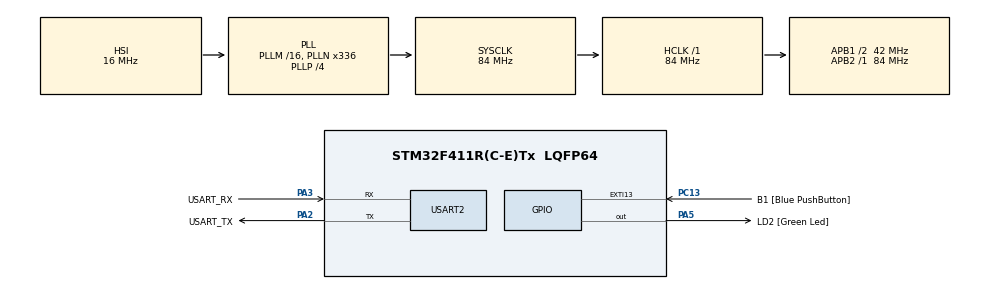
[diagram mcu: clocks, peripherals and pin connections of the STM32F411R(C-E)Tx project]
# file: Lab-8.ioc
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Mcu.Family=STM32F4
Mcu.Name=STM32F411R(C-E)Tx
Mcu.Package=LQFP64
NVIC.PriorityGroup=NVIC_PRIORITYGROUP_0
NVIC.USART2_IRQn=true\:0\:0\:false\:false\:true\:true\:true
PA13.GPIO_Label=TMS
PA13.Mode=Serial_Wire
PA13.Signal=SYS_JTMS-SWDIO
PA14.GPIO_Label=TCK
PA14.Mode=Serial_Wire
PA14.Signal=SYS_JTCK-SWCLK
PA2.GPIO_Label=USART_TX
PA2.Mode=Asynchronous
PA2.Signal=USART2_TX
PA3.GPIO_Label=USART_RX
PA3.Mode=Asynchronous
PA3.Signal=USART2_RX
PA5.GPIO_Label=LD2 [Green Led]
PA5.Signal=GPIO_Output
PB3.GPIO_Label=SWO
PB3.Signal=SYS_JTDO-SWO
PC13-ANTI_TAMP.GPIO_Label=B1 [Blue PushButton]
PC13-ANTI_TAMP.GPIO_ModeDefaultEXTI=GPIO_MODE_IT_FALLING
PC13-ANTI_TAMP.Signal=GPXTI13
PC14-OSC32_IN.Mode=LSE-External-Oscillator
PC14-OSC32_IN.Signal=RCC_OSC32_IN
PC15-OSC32_OUT.Mode=LSE-External-Oscillator
PC15-OSC32_OUT.Signal=RCC_OSC32_OUT
PH0\ -\ OSC_IN.Mode=HSE-External-Clock-Source
PH0\ -\ OSC_IN.Signal=RCC_OSC_IN
PH1\ -\ OSC_OUT.Mode=HSE-External-Clock-Source
PH1\ -\ OSC_OUT.Signal=RCC_OSC_OUT
ProjectManager.HeapSize=0x200
ProjectManager.StackSize=0x400
ProjectManager.TargetToolchain=STM32CubeIDE
RCC.48MHZClocksFreq_Value=84000000
RCC.AHBFreq_Value=84000000
RCC.APB1CLKDivider=RCC_HCLK_DIV2
RCC.APB1Freq_Value=42000000
RCC.APB1TimFreq_Value=84000000
RCC.APB2Freq_Value=84000000
RCC.APB2TimFreq_Value=84000000
RCC.CortexFreq_Value=84000000
RCC.FLatency-AdvancedSettings=FLASH_LATENCY_2
RCC.HCLKFreq_Value=84000000
RCC.HSE_VALUE=8000000
RCC.HSI_VALUE=16000000
RCC.PLLN=336
RCC.PLLP=RCC_PLLP_DIV4
RCC.SYSCLKFreq_VALUE=84000000
RCC.SYSCLKSource=RCC_SYSCLKSOURCE_PLLCLK
RCC.VCOOutputFreq_Value=336000000
USART2.VirtualMode=VM_ASYNC
board=NUCLEO-F411RE

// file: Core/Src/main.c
/* USER CODE BEGIN Header */
/**
  ******************************************************************************
  * @file           : main.c
  * @brief          : Main program body
  ******************************************************************************
  * @attention
  *
  * <h2><center>&copy; Copyright (c) 2021 STMicroelectronics.
  * All rights reserved.</center></h2>
  *
  * This software component is licensed by ST under BSD 3-Clause license,
  * the "License"; You may not use this file except in compliance with the
  * License. You may obtain a copy of the License at:
  *                        opensource.org/licenses/BSD-3-Clause
  *
  ******************************************************************************
  */
/* USER CODE END Header */
#include "main.h"
#include <stdio.h> 	//sprintf
#include <string.h>	//strlen

UART_HandleTypeDef huart2;

/* USER CODE BEGIN PV */
char TxDataBuffer[32]    = { 0 };
char RxDataBuffer[32]    = { 0 };
uint8_t  ButtonArray[2]  = {1,1}; 	//[Now,Past] = [up,up]
uint32_t ButtonTimeStamp = 0;
uint16_t LEDFrequency    = 0;
uint16_t LEDHalfPeriod   = 0;
uint32_t LEDTimeStamp    = 0;
uint8_t  LEDOn           = 1;

typedef enum
{
	Main_Menu_Print,
	Main_Menu_Select,
	Menu_0_Print,
	Menu_0_Select,
	Menu_1_Print,
	Menu_1_Select
}Transition_State;

/* USER CODE END PV */

void SystemClock_Config(void);
static void MX_GPIO_Init(void);
static void MX_USART2_UART_Init(void);
/* USER CODE BEGIN PFP */
void UARTRecieveAndResponsePolling();
int16_t UARTRecieveIT();

/* USER CODE END PFP */

int main(void)
{

  /* MCU Configuration--------------------------------------------------------*/

  /* Reset of all peripherals, Initializes the Flash interface and the Systick. */
  HAL_Init();

  /* Configure the system clock */
  SystemClock_Config();

  /* Initialize all configured peripherals */
  MX_GPIO_Init();
  MX_USART2_UART_Init();
  /* USER CODE BEGIN 2 */
  {
	  char temp[]="\n\n\r!!! GET STARTED !!!\n\n\r";
	  HAL_UART_Transmit(&huart2, (uint8_t*)temp, strlen(temp),100);

  }

  /* USER CODE END 2 */

  /* Infinite loop */
  /* USER CODE BEGIN WHILE */
  while (1)
  {
	  	  /*Method 1 Polling Mode*/

//	  		UARTRecieveAndResponsePolling();

	  		/*Method 2 Interrupt Mode*/
	  		HAL_UART_Receive_IT(&huart2,  (uint8_t*)RxDataBuffer, 32);

	  		/*Method 2 W/ 1 Char Received*/

	  		if(LEDOn)
	  		{
	  			if(HAL_GetTick() - LEDTimeStamp >= LEDHalfPeriod) //ms
				{
					LEDTimeStamp = HAL_GetTick();
					HAL_GPIO_TogglePin(LD2_GPIO_Port, LD2_Pin);
				}

	  		}

	  		else
	  		{
	  			HAL_GPIO_WritePin(LD2_GPIO_Port, LD2_Pin, 0);
	  		}

	  		ButtonArray[1] = ButtonArray[0];
	  		ButtonArray[0] = HAL_GPIO_ReadPin(B1_GPIO_Port, B1_Pin);

	  		int16_t inputchar = UARTRecieveIT();

	  		static Transition_State State = Main_Menu_Print;

			switch(State)
			{
		//--------------------------------------------------------------------------------------------------------

				case Main_Menu_Print:
					sprintf(TxDataBuffer, "\n----- Main Menu -----\n\r");
					HAL_UART_Transmit(&huart2, (uint8_t*)TxDataBuffer, strlen(TxDataBuffer), 100);
					sprintf(TxDataBuffer, "[0] LED Control\n\r");
					HAL_UART_Transmit(&huart2, (uint8_t*)TxDataBuffer, strlen(TxDataBuffer), 100);
					sprintf(TxDataBuffer, "[1] Button Status\n\n\r");
					HAL_UART_Transmit(&huart2, (uint8_t*)TxDataBuffer, strlen(TxDataBuffer), 100);
					State = Main_Menu_Select;
					break;

				case Main_Menu_Select:
					switch(inputchar)
					{
						case -1 :
							break;
						case '0':
							State = Menu_0_Print;
							break;
						case '1':
							State = Menu_1_Print;
							break;
						case 'x':
							sprintf(TxDataBuffer, "No More Back\n\r");
							HAL_UART_Transmit(&huart2, (uint8_t*)TxDataBuffer, strlen(TxDataBuffer), 100);
							State = Main_Menu_Print;
							break;
						default:
							sprintf(TxDataBuffer, "\nOnly [0],[1] Key Available\n\r");
							HAL_UART_Transmit(&huart2, (uint8_t*)TxDataBuffer, strlen(TxDataBuffer), 100);
							State = Main_Menu_Print;
							break;
					}
					break;

		//--------------------------------------------------------------------------------------------------------

				case Menu_0_Print:
					sprintf(TxDataBuffer, "\n----- LED Control -----\n\r");
					HAL_UART_Transmit(&huart2, (uint8_t*)TxDataBuffer, strlen(TxDataBuffer), 100);
					sprintf(TxDataBuffer, "[a] Speed Up   +1 Hz\n\r");
					HAL_UART_Transmit(&huart2, (uint8_t*)TxDataBuffer, strlen(TxDataBuffer), 100);
					sprintf(TxDataBuffer, "[s] Speed Down -1 Hz\n\r");
					HAL_UART_Transmit(&huart2, (uint8_t*)TxDataBuffer, strlen(TxDataBuffer), 100);
					sprintf(TxDataBuffer, "[d] On/Off\n\r");
					HAL_UART_Transmit(&huart2, (uint8_t*)TxDataBuffer, strlen(TxDataBuffer), 100);
					sprintf(TxDataBuffer, "[x] Back\n\n\r");
					HAL_UART_Transmit(&huart2, (uint8_t*)TxDataBuffer, strlen(TxDataBuffer), 100);
					State = Menu_0_Select;
					break;

				case Menu_0_Select:
					switch(inputchar)
					{
						case -1 :
							break;
						case 'a':
							LEDFrequency += 1;
							LEDHalfPeriod = 500/LEDFrequency;
							sprintf(TxDataBuffer, "Blinking LED at %d Hz\n\r", LEDFrequency);
							HAL_UART_Transmit(&huart2, (uint8_t*)TxDataBuffer, strlen(TxDataBuffer), 100);
							break;
						case 's':
							if(LEDFrequency != 0)
							{
								LEDFrequency -= 1;
								LEDHalfPeriod = 500/LEDFrequency;
								sprintf(TxDataBuffer, "Blinking LED at %d Hz\n\r", LEDFrequency);
								HAL_UART_Transmit(&huart2, (uint8_t*)TxDataBuffer, strlen(TxDataBuffer), 100);
							}
							else
							{
								sprintf(TxDataBuffer, "Frequency can't be Negative\n\r");
								HAL_UART_Transmit(&huart2, (uint8_t*)TxDataBuffer, strlen(TxDataBuffer), 100);
							}
							break;
						case 'd':
							if(LEDOn == 1)
							{
								sprintf(TxDataBuffer, "Turn OFF LED\n\r");
								HAL_UART_Transmit(&huart2, (uint8_t*)TxDataBuffer, strlen(TxDataBuffer), 100);
							}
							else
							{
								sprintf(TxDataBuffer, "Turn ON LED\n\r");
								HAL_UART_Transmit(&huart2, (uint8_t*)TxDataBuffer, strlen(TxDataBuffer), 100);
							}
							LEDOn = !LEDOn;
							break;
						case 'x':
							State = Main_Menu_Print;
							break;
						default:
							sprintf(TxDataBuffer, "\nOnly [a][s][d][x] Available\n\r");
							HAL_UART_Transmit(&huart2, (uint8_t*)TxDataBuffer, strlen(TxDataBuffer), 100);
							State = Menu_0_Print;
							break;
					}
					break;

		//--------------------------------------------------------------------------------------------------------

				case Menu_1_Print:
					sprintf(TxDataBuffer, "\n----- Button Status -----\n\r");
					HAL_UART_Transmit(&huart2, (uint8_t*)TxDataBuffer, strlen(TxDataBuffer), 100);
					sprintf(TxDataBuffer, "[x] Back\n\n\r");
					HAL_UART_Transmit(&huart2, (uint8_t*)TxDataBuffer, strlen(TxDataBuffer), 100);
					State = Menu_1_Select;
					break;

				case Menu_1_Select:

					switch(inputchar)
					{
						case -1 :
							break;
						case 'x':
							State = Main_Menu_Print;
							break;
						default:
							sprintf(TxDataBuffer, "\nOnly [x] Key Available\n\r");
							HAL_UART_Transmit(&huart2, (uint8_t*)TxDataBuffer, strlen(TxDataBuffer), 100);
							State = Menu_1_Print;
							break;
					}

					if(ButtonArray[0] == 0 && ButtonArray[1] == 1)
					{
						sprintf(TxDataBuffer, "Button PRESSED\n\r");
						HAL_UART_Transmit(&huart2, (uint8_t*)TxDataBuffer, strlen(TxDataBuffer), 100);
					}
					else if(ButtonArray[0] == 1 && ButtonArray[1] == 0)
					{
						sprintf(TxDataBuffer, "Button R E L E A S E D\n\r");
						HAL_UART_Transmit(&huart2, (uint8_t*)TxDataBuffer, strlen(TxDataBuffer), 100);

					}

					break;

		//--------------------------------------------------------------------------------------------------------

				default:
					break;
			}

	  		/*This section just simulate Work Load*/
//	  		HAL_Delay(100);
//	  		HAL_GPIO_TogglePin(LD2_GPIO_Port, LD2_Pin);

    /* USER CODE END WHILE */

  }
}

void SystemClock_Config(void)
{
  RCC_OscInitTypeDef RCC_OscInitStruct = {0};
  RCC_ClkInitTypeDef RCC_ClkInitStruct = {0};

  /** Configure the main internal regulator output voltage
  */
  __HAL_RCC_PWR_CLK_ENABLE();
  __HAL_PWR_VOLTAGESCALING_CONFIG(PWR_REGULATOR_VOLTAGE_SCALE1);
  /** Initializes the RCC Oscillators according to the specified parameters
  * in the RCC_OscInitTypeDef structure.
  */
  RCC_OscInitStruct.OscillatorType = RCC_OSCILLATORTYPE_HSI;
  RCC_OscInitStruct.HSIState = RCC_HSI_ON;
  RCC_OscInitStruct.HSICalibrationValue = RCC_HSICALIBRATION_DEFAULT;
  RCC_OscInitStruct.PLL.PLLState = RCC_PLL_ON;
  RCC_OscInitStruct.PLL.PLLSource = RCC_PLLSOURCE_HSI;
  RCC_OscInitStruct.PLL.PLLM = 16;
  RCC_OscInitStruct.PLL.PLLN = 336;
  RCC_OscInitStruct.PLL.PLLP = RCC_PLLP_DIV4;
  RCC_OscInitStruct.PLL.PLLQ = 4;
  if (HAL_RCC_OscConfig(&RCC_OscInitStruct) != HAL_OK)
  {
    Error_Handler();
  }
  /** Initializes the CPU, AHB and APB buses clocks
  */
  RCC_ClkInitStruct.ClockType = RCC_CLOCKTYPE_HCLK|RCC_CLOCKTYPE_SYSCLK
                              |RCC_CLOCKTYPE_PCLK1|RCC_CLOCKTYPE_PCLK2;
  RCC_ClkInitStruct.SYSCLKSource = RCC_SYSCLKSOURCE_PLLCLK;
  RCC_ClkInitStruct.AHBCLKDivider = RCC_SYSCLK_DIV1;
  RCC_ClkInitStruct.APB1CLKDivider = RCC_HCLK_DIV2;
  RCC_ClkInitStruct.APB2CLKDivider = RCC_HCLK_DIV1;

  if (HAL_RCC_ClockConfig(&RCC_ClkInitStruct, FLASH_LATENCY_2) != HAL_OK)
  {
    Error_Handler();
  }
}

static void MX_USART2_UART_Init(void)
{

  huart2.Instance = USART2;
  huart2.Init.BaudRate = 115200;
  huart2.Init.WordLength = UART_WORDLENGTH_8B;
  huart2.Init.StopBits = UART_STOPBITS_1;
  huart2.Init.Parity = UART_PARITY_NONE;
  huart2.Init.Mode = UART_MODE_TX_RX;
  huart2.Init.HwFlowCtl = UART_HWCONTROL_NONE;
  huart2.Init.OverSampling = UART_OVERSAMPLING_16;
  if (HAL_UART_Init(&huart2) != HAL_OK)
  {
    Error_Handler();
  }

}

static void MX_GPIO_Init(void)
{
  GPIO_InitTypeDef GPIO_InitStruct = {0};

  /* GPIO Ports Clock Enable */
  __HAL_RCC_GPIOC_CLK_ENABLE();
  __HAL_RCC_GPIOH_CLK_ENABLE();
  __HAL_RCC_GPIOA_CLK_ENABLE();
  __HAL_RCC_GPIOB_CLK_ENABLE();

  /*Configure GPIO pin Output Level */
  HAL_GPIO_WritePin(LD2_GPIO_Port, LD2_Pin, GPIO_PIN_RESET);

  /*Configure GPIO pin : B1_Pin */
  GPIO_InitStruct.Pin = B1_Pin;
  GPIO_InitStruct.Mode = GPIO_MODE_IT_FALLING;
  GPIO_InitStruct.Pull = GPIO_NOPULL;
  HAL_GPIO_Init(B1_GPIO_Port, &GPIO_InitStruct);

  /*Configure GPIO pin : LD2_Pin */
  GPIO_InitStruct.Pin = LD2_Pin;
  GPIO_InitStruct.Mode = GPIO_MODE_OUTPUT_PP;
  GPIO_InitStruct.Pull = GPIO_NOPULL;
  GPIO_InitStruct.Speed = GPIO_SPEED_FREQ_LOW;
  HAL_GPIO_Init(LD2_GPIO_Port, &GPIO_InitStruct);

}

/* USER CODE BEGIN 4 */
void UARTRecieveAndResponsePolling()
{
	char Recieve[32]={0};

//	HAL_UART_Receive(&huart2, (uint8_t*)Recieve, 32, 1000);
	HAL_UART_Receive(&huart2, (uint8_t*)Recieve, 4, 1000);

	sprintf(TxDataBuffer, "Received:[%s]\r\n", Recieve);
	HAL_UART_Transmit(&huart2, (uint8_t*)TxDataBuffer, strlen(TxDataBuffer), 1000);

}

int16_t UARTRecieveIT()
{
	static uint32_t dataPos =0;
	int16_t data=-1;
	if(huart2.RxXferSize - huart2.RxXferCount!=dataPos)
	{
		data=RxDataBuffer[dataPos];
		dataPos= (dataPos+1)%huart2.RxXferSize;
	}
	return data;
}
/*
void HAL_UART_RxCpltCallback(UART_HandleTypeDef *huart)
{
	sprintf(TxDataBuffer, "Received:[%s]\r\n", RxDataBuffer);
	HAL_UART_Transmit(&huart2, (uint8_t*)TxDataBuffer, strlen(TxDataBuffer), 1000);
}
*/

/* USER CODE END 4 */

void Error_Handler(void)
{
  __disable_irq();
  while (1)
  {
  }
}

/************************ (C) COPYRIGHT STMicroelectronics *****END OF FILE****/
